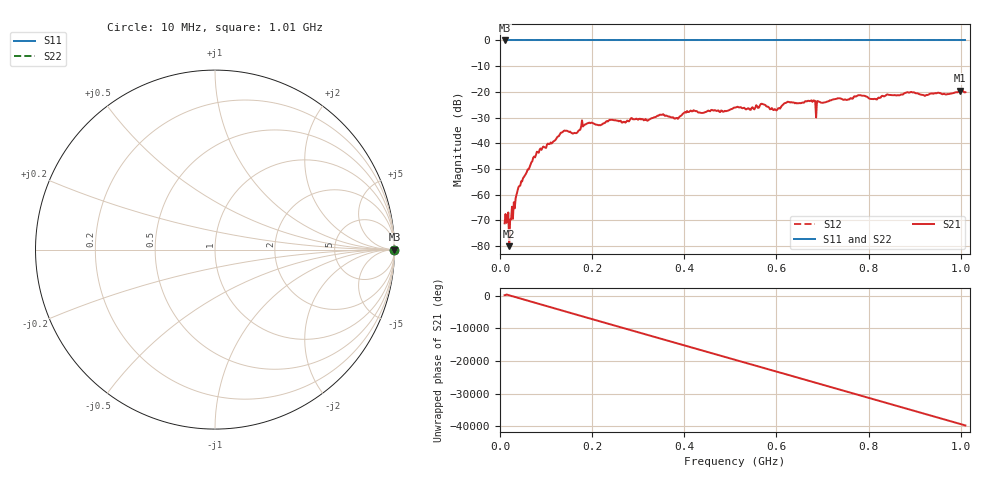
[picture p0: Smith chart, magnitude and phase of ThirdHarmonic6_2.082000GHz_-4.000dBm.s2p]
! 8/17/2025 12:55:31 AM
! C:\ANRITSUVNA\TEMP\TEMP.S2P
! CHANNEL.1
! TR.MEASUREMENT
! RAW.DATA
! RF.CORRECTION.OFF
! AVERAGING.OFF
! IF.BANDWIDTH: 5KHZ
! SWEEPTYPE:  FREQ.SWEEP(Linear)
! Reference Plane Port Info
! PORT:  PORT1  PORT2
! DISTANCE:  0  m  0  m
! TIME:  0  s  0  s
! PHASE.OFFSET:  0  deg.  0  deg.
! LOSS:  0  dB  0  dB
! REF.LOSS:  0  dB  0  dB
! REF.FREQ:  0  Hz  0  Hz
! Power Info
! POWER:  -20  dBm  -20  dBm
! EFF.POWER:  -20  dBm  -20  dBm
! SOURCE.ATTEN:  0  dB  0  dB
! TEST.ATTEN:  0  dB  0  dB
# GHZ S RI R 50.0
! FREQ.GHZ  S11RE  S11IM  S21RE  S21IM  S12RE  S12IM  S22RE  S22IM
!; PortSelection: Port_12
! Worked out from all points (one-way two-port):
!   501 points, 10 MHz to 1.01 GHz, reference 50 ohm
!   highest |S21| = -19.47 dB at 998 MHz (marker M1); lowest = -80.0 dB at 20 MHz (marker M2)
!   lowest |S11| = 0.0 dB at 10 MHz (marker M3)
!   |S11| at or under -10 dB: nowhere
!   |S22| runs from 0.0 to 0.0 dB; largest |S21 - S12| = 1.1
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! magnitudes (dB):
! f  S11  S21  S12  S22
! 10 MHz  0.0  -71.1  0.0  0.0
! 14 MHz  0.0  -71.0  0.0  0.0
! 20 MHz  0.0  -80.0  0.0  0.0
! 24 MHz  0.0  -69.7  0.0  0.0
! 26 MHz  0.0  -64.7  0.0  0.0
! 42 MHz  0.0  -56.6  0.0  0.0
! 76 MHz  0.0  -45.5  0.0  0.0
! 136 MHz  0.0  -35.6  0.0  0.0
! 164 MHz  0.0  -36.0  0.0  0.0
! 178 MHz  0.0  -31.1  0.0  0.0
! 344 MHz  0.0  -29.2  0.0  0.0
! 382 MHz  0.0  -30.1  0.0  0.0
! 410 MHz  0.0  -27.8  0.0  0.0
! 510 MHz  0.0  -26.1  0.0  0.0
! 570 MHz  0.0  -24.7  0.0  0.0
! 598 MHz  0.0  -26.9  0.0  0.0
! 622 MHz  0.0  -24.1  0.0  0.0
! 678 MHz  0.0  -23.9  0.0  0.0
! 690 MHz  0.0  -23.6  0.0  0.0
! 844 MHz  0.0  -21.2  0.0  0.0
! 998 MHz  0.0  -19.5  0.0  0.0
! 1.01 GHz  0.0  -20.1  0.0  0.0
